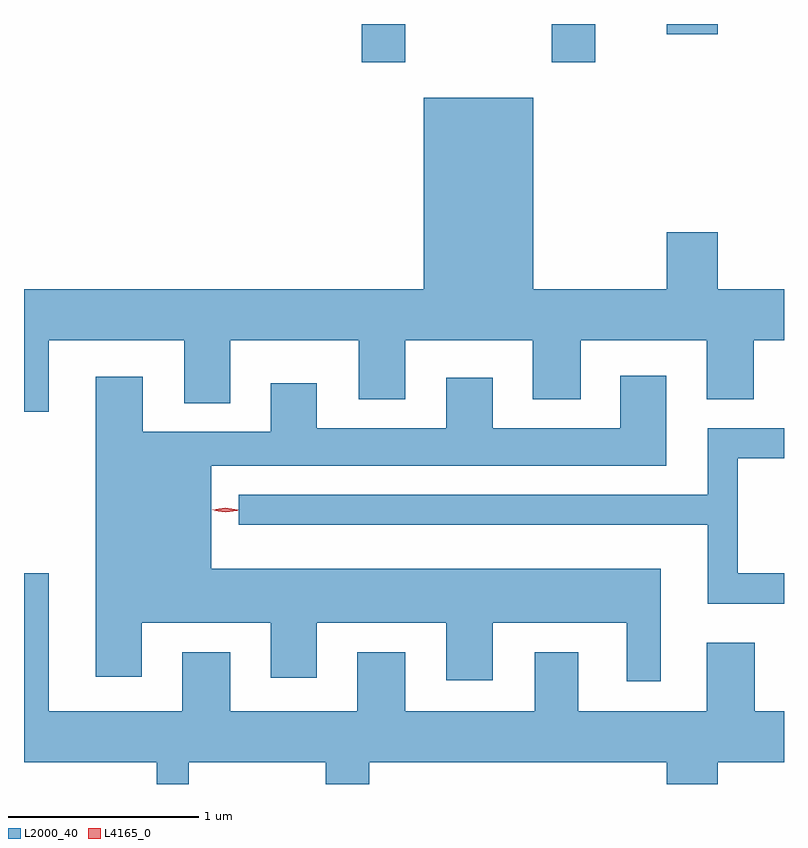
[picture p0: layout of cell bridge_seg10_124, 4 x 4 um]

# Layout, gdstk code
import gdstk
lib = gdstk.Library(unit=1e-6, precision=1e-09)
def R(c, l, rs):  # rectangles x0, y0, x1, y1
    for r in rs: c.add(gdstk.rectangle(r[:2], r[2:], *l))
def P(c, l, *ps):  # polygons
    for p in ps: c.add(gdstk.Polygon(p, *l))
L2000_40 = (2000, 40)
L4165_0 = (4165, 0)

bridge_seg10_124 = lib.new_cell('bridge_seg10_124')
R(bridge_seg10_124, L2000_40, [(1492.191,2117.601,1492.419,2117.801), (1493.191,2117.601,1493.419,2117.801), (1493.796,2117.746,1494.064,2117.801)])
P(bridge_seg10_124, L2000_40, [(1490.544,2116.136),(1491.256,2116.136),(1491.256,2115.806),(1491.499,2115.806),(1491.499,2116.136),(1492.176,2116.136),(1492.176,2115.826),(1492.419,2115.826),(1492.419,2116.136),(1493.091,2116.136),(1493.091,2115.826),(1493.344,2115.826),(1493.344,2116.136),(1494.006,2116.136),(1494.006,2115.826),(1494.254,2115.826),(1494.254,2116.136),(1494.413,2116.136),(1494.413,2116.404),(1494.064,2116.404),(1494.064,2116.704),(1493.796,2116.704),(1493.796,2116.404),(1493.094,2116.404),(1493.094,2117.414),(1492.516,2117.414),(1492.516,2116.404),(1490.413,2116.404),(1490.413,2115.761),(1490.544,2115.761)],
  [(1493.764,2114.934),(1491.399,2114.934),(1491.399,2115.476),(1493.794,2115.476),(1493.794,2115.949),(1493.551,2115.949),(1493.551,2115.674),(1492.879,2115.674),(1492.879,2115.939),(1492.636,2115.939),(1492.636,2115.674),(1491.954,2115.674),(1491.954,2115.909),(1491.711,2115.909),(1491.711,2115.654),(1491.039,2115.654),(1491.039,2115.944),(1490.791,2115.944),(1490.791,2114.366),(1491.034,2114.366),(1491.034,2114.651),(1491.711,2114.651),(1491.711,2114.361),(1491.954,2114.361),(1491.954,2114.651),(1492.636,2114.651),(1492.636,2114.346),(1492.879,2114.346),(1492.879,2114.651),(1493.586,2114.651),(1493.586,2114.341),(1493.764,2114.341)],
  [(1494.413,2114.909),(1494.169,2114.909),(1494.169,2115.516),(1494.413,2115.516),(1494.413,2115.674),(1494.011,2115.674),(1494.011,2115.324),(1491.543,2115.324),(1491.543,2115.166),(1494.011,2115.166),(1494.011,2114.751),(1494.413,2114.751)],
  [(1491.279,2113.916),(1492.001,2113.916),(1492.001,2113.801),(1492.229,2113.801),(1492.229,2113.916),(1493.796,2113.916),(1493.796,2113.801),(1494.064,2113.801),(1494.064,2113.916),(1494.413,2113.916),(1494.413,2114.184),(1494.259,2114.184),(1494.259,2114.544),(1494.006,2114.544),(1494.006,2114.184),(1493.329,2114.184),(1493.329,2114.494),(1493.101,2114.494),(1493.101,2114.184),(1492.419,2114.184),(1492.419,2114.494),(1492.166,2114.494),(1492.166,2114.184),(1491.499,2114.184),(1491.499,2114.494),(1491.246,2114.494),(1491.246,2114.184),(1490.544,2114.184),(1490.544,2114.909),(1490.413,2114.909),(1490.413,2113.916),(1491.111,2113.916),(1491.111,2113.801),(1491.279,2113.801)])
P(bridge_seg10_124, L4165_0, [(1491.472,2115.234),(1491.403,2115.244),(1491.402,2115.244),(1491.403,2115.244),(1491.472,2115.254),(1491.54,2115.244),(1491.54,2115.244),(1491.54,2115.244)],
  [(1491.475,2115.23),(1491.413,2115.239),(1491.412,2115.24),(1491.413,2115.24),(1491.475,2115.25),(1491.536,2115.241),(1491.537,2115.24),(1491.536,2115.24)])

lib.write_gds('bridge_seg10_124.gds')
